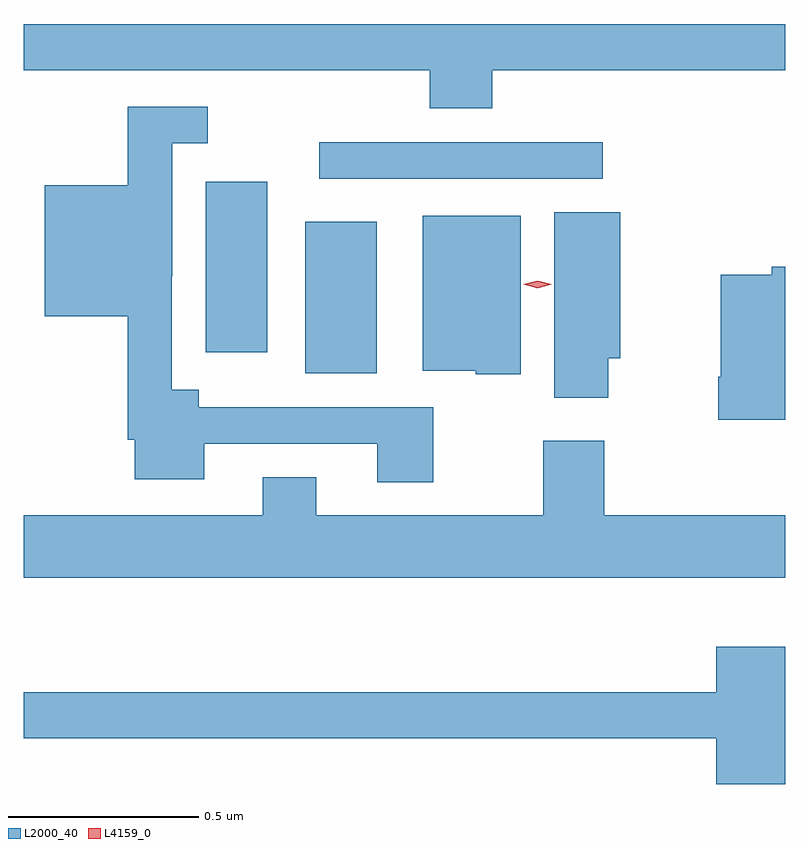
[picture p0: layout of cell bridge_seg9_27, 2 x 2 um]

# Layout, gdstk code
import gdstk
lib = gdstk.Library(unit=1e-6, precision=1e-09)
def R(c, l, rs):  # rectangles x0, y0, x1, y1
    for r in rs: c.add(gdstk.rectangle(r[:2], r[2:], *l))
def P(c, l, *ps):  # polygons
    for p in ps: c.add(gdstk.Polygon(p, *l))
L2000_40 = (2000, 40)
L4159_0 = (4159, 0)

bridge_seg9_27 = lib.new_cell('bridge_seg9_27')
R(bridge_seg9_27, L2000_40, [(952.796,1202.285,952.984,1202.683), (952.535,1202.34,952.696,1202.788), (952.833,1202.796,953.578,1202.892)])
P(bridge_seg9_27, L2000_40, [(953.288,1203.08),(954.057,1203.08),(954.057,1203.202),(952.057,1203.202),(952.057,1203.08),(953.123,1203.08),(953.123,1202.981),(953.288,1202.981)],
  [(953.133,1202.196),(952.516,1202.196),(952.516,1202.242),(952.446,1202.242),(952.446,1202.539),(952.447,1202.539),(952.447,1202.889),(952.54,1202.889),(952.54,1202.985),(952.33,1202.985),(952.33,1202.779),(952.112,1202.779),(952.112,1202.435),(952.33,1202.435),(952.33,1202.11),(952.349,1202.11),(952.349,1202.006),(952.531,1202.006),(952.531,1202.1),(952.985,1202.1),(952.985,1201.998),(953.133,1201.998)],
  [(953.592,1202.324),(953.623,1202.324),(953.623,1202.707),(953.45,1202.707),(953.45,1202.22),(953.592,1202.22)],
  [(953.362,1202.698),(953.105,1202.698),(953.105,1202.291),(953.244,1202.291),(953.244,1202.282),(953.362,1202.282)],
  [(954.057,1202.564),(954.022,1202.564),(954.022,1202.544),(953.888,1202.544),(953.888,1202.275),(953.881,1202.275),(953.881,1202.163),(954.057,1202.163)],
  [(954.057,1201.912),(953.582,1201.912),(953.582,1202.107),(953.422,1202.107),(953.422,1201.912),(952.825,1201.912),(952.825,1202.011),(952.685,1202.011),(952.685,1201.912),(952.057,1201.912),(952.057,1201.748),(954.057,1201.748)],
  [(954.057,1201.567),(953.876,1201.567),(953.876,1201.447),(952.057,1201.447),(952.057,1201.326),(953.876,1201.326),(953.876,1201.206),(954.057,1201.206)])
P(bridge_seg9_27, L4159_0, [(953.407,1202.508),(953.369,1202.518),(953.369,1202.518),(953.369,1202.518),(953.407,1202.528),(953.444,1202.518),(953.444,1202.518),(953.444,1202.518)])

lib.write_gds('bridge_seg9_27.gds')
